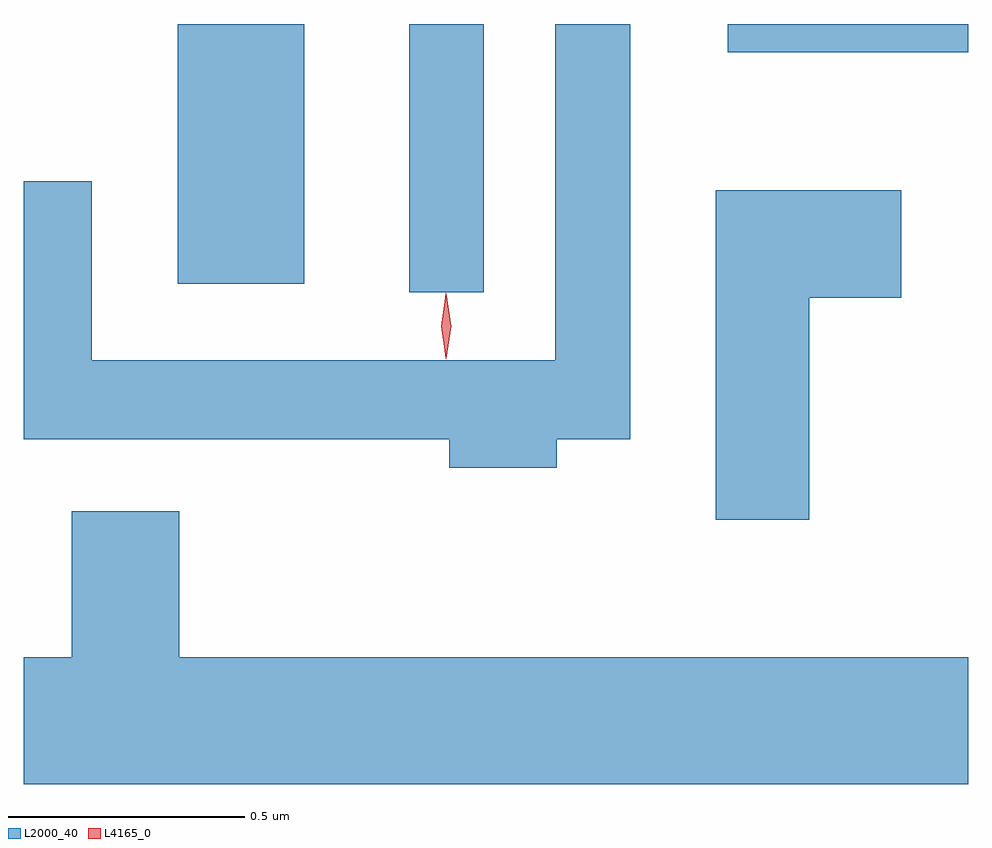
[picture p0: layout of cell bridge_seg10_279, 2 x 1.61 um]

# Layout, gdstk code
import gdstk
lib = gdstk.Library(unit=1e-6, precision=1e-09)
def R(c, l, rs):  # rectangles x0, y0, x1, y1
    for r in rs: c.add(gdstk.rectangle(r[:2], r[2:], *l))
def P(c, l, *ps):  # polygons
    for p in ps: c.add(gdstk.Polygon(p, *l))
L2000_40 = (2000, 40)
L4165_0 = (4165, 0)

bridge_seg10_279 = lib.new_cell('bridge_seg10_279')
R(bridge_seg10_279, L2000_40, [(1809.346,2099.418,1809.504,2099.986), (1808.856,2099.436,1809.124,2099.986), (1810.021,2099.926,1810.53,2099.986)])
P(bridge_seg10_279, L2000_40, [(1809.659,2099.106),(1809.814,2099.106),(1809.814,2099.986),(1809.656,2099.986),(1809.656,2099.274),(1808.674,2099.274),(1808.674,2099.653),(1808.53,2099.653),(1808.53,2099.106),(1809.431,2099.106),(1809.431,2099.046),(1809.659,2099.046)],
  [(1810.194,2099.406),(1810.389,2099.406),(1810.389,2099.634),(1809.996,2099.634),(1809.996,2098.936),(1810.194,2098.936)],
  [(1810.53,2098.644),(1808.859,2098.644),(1808.859,2098.954),(1808.631,2098.954),(1808.631,2098.644),(1808.53,2098.644),(1808.53,2098.376),(1810.53,2098.376)])
P(bridge_seg10_279, L4165_0, [(1809.424,2099.279),(1809.424,2099.28),(1809.414,2099.346),(1809.424,2099.412),(1809.424,2099.413),(1809.425,2099.412),(1809.434,2099.346),(1809.425,2099.28)],
  [(1809.424,2099.277),(1809.415,2099.346),(1809.424,2099.416),(1809.425,2099.416),(1809.425,2099.416),(1809.435,2099.346),(1809.425,2099.277),(1809.425,2099.277)])

lib.write_gds('bridge_seg10_279.gds')
